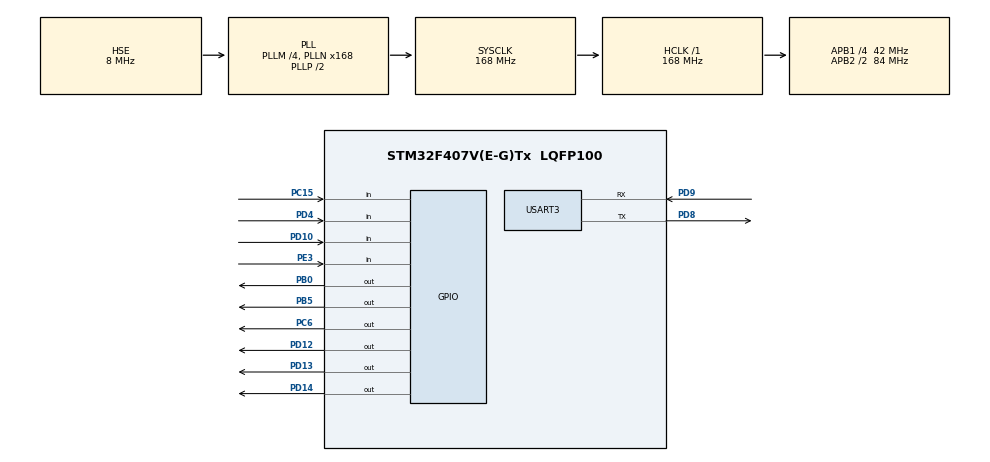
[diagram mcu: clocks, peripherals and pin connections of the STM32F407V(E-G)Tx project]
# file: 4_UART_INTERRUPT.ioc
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Mcu.Family=STM32F4
Mcu.Name=STM32F407V(E-G)Tx
Mcu.Package=LQFP100
NVIC.PriorityGroup=NVIC_PRIORITYGROUP_4
NVIC.USART3_IRQn=true\:0\:0\:false\:true\:true\:1\:true\:true\:true
PB0.Signal=GPIO_Output
PB5.Signal=GPIO_Output
PC15-OSC32_OUT.Signal=GPIO_Input
PC6.Signal=GPIO_Output
PD10.Signal=GPIO_Input
PD12.Signal=GPIO_Output
PD13.Signal=GPIO_Output
PD14.Signal=GPIO_Output
PD4.Signal=GPIO_Input
PD8.Mode=Asynchronous
PD8.Signal=USART3_TX
PD9.Mode=Asynchronous
PD9.Signal=USART3_RX
PE3.Signal=GPIO_Input
PH0-OSC_IN.Mode=HSE-External-Oscillator
PH0-OSC_IN.Signal=RCC_OSC_IN
PH1-OSC_OUT.Mode=HSE-External-Oscillator
PH1-OSC_OUT.Signal=RCC_OSC_OUT
ProjectManager.HeapSize=0x200
ProjectManager.StackSize=0x400
ProjectManager.TargetToolchain=STM32CubeIDE
RCC.48MHZClocksFreq_Value=84000000
RCC.AHBFreq_Value=168000000
RCC.APB1CLKDivider=RCC_HCLK_DIV4
RCC.APB1Freq_Value=42000000
RCC.APB1TimFreq_Value=84000000
RCC.APB2CLKDivider=RCC_HCLK_DIV2
RCC.APB2Freq_Value=84000000
RCC.APB2TimFreq_Value=168000000
RCC.CortexFreq_Value=168000000
RCC.HCLKFreq_Value=168000000
RCC.HSE_VALUE=8000000
RCC.HSI_VALUE=16000000
RCC.LSE_VALUE=32768
RCC.PLLM=4
RCC.PLLN=168
RCC.PLLSourceVirtual=RCC_PLLSOURCE_HSE
RCC.SYSCLKFreq_VALUE=168000000
RCC.SYSCLKSource=RCC_SYSCLKSOURCE_PLLCLK
RCC.VCOOutputFreq_Value=336000000
USART3.VirtualMode=VM_ASYNC
board=custom

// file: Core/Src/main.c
/* USER CODE BEGIN Header */
/**
 ******************************************************************************
 * @file           : main.c
 * @brief          : Main program body
 ******************************************************************************
 * @attention
 *
 * Copyright (c) 2024 STMicroelectronics.
 * All rights reserved.
 *
 * This software is licensed under terms that can be found in the LICENSE file
 * in the root directory of this software component.
 * If no LICENSE file comes with this software, it is provided AS-IS.
 *
 ******************************************************************************
 */
/* USER CODE END Header */
#include "main.h"

/* USER CODE BEGIN Includes */
#include <stdio.h>
#include <string.h>
/* USER CODE END Includes */

UART_HandleTypeDef huart3;

/* USER CODE BEGIN PV */
uint8_t rx3_data;
uint8_t cnt = 0;
uint8_t rx3_buf[100] = "uart test";
/* USER CODE END PV */

void SystemClock_Config(void);
static void MX_GPIO_Init(void);
static void MX_USART3_UART_Init(void);
static void MX_NVIC_Init(void);
/* USER CODE BEGIN PFP */
int _write(int file, char *p, int len) {
	HAL_UART_Transmit(&huart3, p, len, 10);
	return len;
}

void HAL_UART_RxCpltCallback(UART_HandleTypeDef *huart) {
	if (huart->Instance == USART3) {
		if (cnt < 100-1) {
			cnt++;
		} else {
			cnt = 0;
		}

		if (rx3_buf[cnt-1] == '\n') {
			rx3_buf[cnt-1] = '\0';
			cnt = 0;
		}

		HAL_UART_Receive_IT(&huart3, &rx3_buf[cnt], 1);
	}
}
/* USER CODE END PFP */

int main(void) {

	/* MCU Configuration--------------------------------------------------------*/

	/* Reset of all peripherals, Initializes the Flash interface and the Systick. */
	HAL_Init();

	/* Configure the system clock */
	SystemClock_Config();

	/* Initialize all configured peripherals */
	MX_GPIO_Init();
	MX_USART3_UART_Init();

	/* Initialize interrupts */
	MX_NVIC_Init();
	/* USER CODE BEGIN 2 */
	HAL_GPIO_WritePin(GPIOD, GPIO_PIN_12, GPIO_PIN_SET);
	HAL_GPIO_WritePin(GPIOD, GPIO_PIN_13, GPIO_PIN_SET);
	HAL_GPIO_WritePin(GPIOD, GPIO_PIN_14, GPIO_PIN_SET);
	HAL_GPIO_WritePin(GPIOC, GPIO_PIN_6, GPIO_PIN_SET);
	HAL_GPIO_WritePin(GPIOB, GPIO_PIN_0, GPIO_PIN_SET);
	HAL_GPIO_WritePin(GPIOB, GPIO_PIN_5, GPIO_PIN_SET);

	HAL_UART_Receive_IT(&huart3, &rx3_buf[cnt], 1);
	/* USER CODE END 2 */

	/* Infinite loop */
	/* USER CODE BEGIN WHILE */

	while (1) {
		HAL_UART_Transmit(&huart3, rx3_buf, strlen(rx3_buf), 100);

		HAL_Delay(1000);
		/* USER CODE END WHILE */

	}
}

void SystemClock_Config(void) {
	RCC_OscInitTypeDef RCC_OscInitStruct = { 0 };
	RCC_ClkInitTypeDef RCC_ClkInitStruct = { 0 };

	/** Configure the main internal regulator output voltage
	 */
	__HAL_RCC_PWR_CLK_ENABLE();
	__HAL_PWR_VOLTAGESCALING_CONFIG(PWR_REGULATOR_VOLTAGE_SCALE1);

	/** Initializes the RCC Oscillators according to the specified parameters
	 * in the RCC_OscInitTypeDef structure.
	 */
	RCC_OscInitStruct.OscillatorType = RCC_OSCILLATORTYPE_HSE;
	RCC_OscInitStruct.HSEState = RCC_HSE_ON;
	RCC_OscInitStruct.PLL.PLLState = RCC_PLL_ON;
	RCC_OscInitStruct.PLL.PLLSource = RCC_PLLSOURCE_HSE;
	RCC_OscInitStruct.PLL.PLLM = 4;
	RCC_OscInitStruct.PLL.PLLN = 168;
	RCC_OscInitStruct.PLL.PLLP = RCC_PLLP_DIV2;
	RCC_OscInitStruct.PLL.PLLQ = 4;
	if (HAL_RCC_OscConfig(&RCC_OscInitStruct) != HAL_OK) {
		Error_Handler();
	}

	/** Initializes the CPU, AHB and APB buses clocks
	 */
	RCC_ClkInitStruct.ClockType = RCC_CLOCKTYPE_HCLK | RCC_CLOCKTYPE_SYSCLK
			| RCC_CLOCKTYPE_PCLK1 | RCC_CLOCKTYPE_PCLK2;
	RCC_ClkInitStruct.SYSCLKSource = RCC_SYSCLKSOURCE_PLLCLK;
	RCC_ClkInitStruct.AHBCLKDivider = RCC_SYSCLK_DIV1;
	RCC_ClkInitStruct.APB1CLKDivider = RCC_HCLK_DIV4;
	RCC_ClkInitStruct.APB2CLKDivider = RCC_HCLK_DIV2;

	if (HAL_RCC_ClockConfig(&RCC_ClkInitStruct, FLASH_LATENCY_5) != HAL_OK) {
		Error_Handler();
	}
}

/**
 * @brief NVIC Configuration.
 * @retval None
 */
static void MX_NVIC_Init(void) {
	/* USART3_IRQn interrupt configuration */
	HAL_NVIC_SetPriority(USART3_IRQn, 0, 0);
	HAL_NVIC_EnableIRQ(USART3_IRQn);
}

static void MX_USART3_UART_Init(void) {

	huart3.Instance = USART3;
	huart3.Init.BaudRate = 115200;
	huart3.Init.WordLength = UART_WORDLENGTH_8B;
	huart3.Init.StopBits = UART_STOPBITS_1;
	huart3.Init.Parity = UART_PARITY_NONE;
	huart3.Init.Mode = UART_MODE_TX_RX;
	huart3.Init.HwFlowCtl = UART_HWCONTROL_NONE;
	huart3.Init.OverSampling = UART_OVERSAMPLING_16;
	if (HAL_UART_Init(&huart3) != HAL_OK) {
		Error_Handler();
	}

}

static void MX_GPIO_Init(void) {
	GPIO_InitTypeDef GPIO_InitStruct = { 0 };

	/* GPIO Ports Clock Enable */
	__HAL_RCC_GPIOE_CLK_ENABLE();
	__HAL_RCC_GPIOC_CLK_ENABLE();
	__HAL_RCC_GPIOH_CLK_ENABLE();
	__HAL_RCC_GPIOB_CLK_ENABLE();
	__HAL_RCC_GPIOD_CLK_ENABLE();

	/*Configure GPIO pin Output Level */
	HAL_GPIO_WritePin(GPIOB, GPIO_PIN_0 | GPIO_PIN_5, GPIO_PIN_RESET);

	/*Configure GPIO pin Output Level */
	HAL_GPIO_WritePin(GPIOD, GPIO_PIN_12 | GPIO_PIN_13 | GPIO_PIN_14,
			GPIO_PIN_RESET);

	/*Configure GPIO pin Output Level */
	HAL_GPIO_WritePin(GPIOC, GPIO_PIN_6, GPIO_PIN_RESET);

	/*Configure GPIO pin : PE3 */
	GPIO_InitStruct.Pin = GPIO_PIN_3;
	GPIO_InitStruct.Mode = GPIO_MODE_INPUT;
	GPIO_InitStruct.Pull = GPIO_NOPULL;
	HAL_GPIO_Init(GPIOE, &GPIO_InitStruct);

	/*Configure GPIO pin : PC15 */
	GPIO_InitStruct.Pin = GPIO_PIN_15;
	GPIO_InitStruct.Mode = GPIO_MODE_INPUT;
	GPIO_InitStruct.Pull = GPIO_NOPULL;
	HAL_GPIO_Init(GPIOC, &GPIO_InitStruct);

	/*Configure GPIO pins : PB0 PB5 */
	GPIO_InitStruct.Pin = GPIO_PIN_0 | GPIO_PIN_5;
	GPIO_InitStruct.Mode = GPIO_MODE_OUTPUT_PP;
	GPIO_InitStruct.Pull = GPIO_NOPULL;
	GPIO_InitStruct.Speed = GPIO_SPEED_FREQ_LOW;
	HAL_GPIO_Init(GPIOB, &GPIO_InitStruct);

	/*Configure GPIO pins : PD10 PD4 */
	GPIO_InitStruct.Pin = GPIO_PIN_10 | GPIO_PIN_4;
	GPIO_InitStruct.Mode = GPIO_MODE_INPUT;
	GPIO_InitStruct.Pull = GPIO_NOPULL;
	HAL_GPIO_Init(GPIOD, &GPIO_InitStruct);

	/*Configure GPIO pins : PD12 PD13 PD14 */
	GPIO_InitStruct.Pin = GPIO_PIN_12 | GPIO_PIN_13 | GPIO_PIN_14;
	GPIO_InitStruct.Mode = GPIO_MODE_OUTPUT_PP;
	GPIO_InitStruct.Pull = GPIO_NOPULL;
	GPIO_InitStruct.Speed = GPIO_SPEED_FREQ_LOW;
	HAL_GPIO_Init(GPIOD, &GPIO_InitStruct);

	/*Configure GPIO pin : PC6 */
	GPIO_InitStruct.Pin = GPIO_PIN_6;
	GPIO_InitStruct.Mode = GPIO_MODE_OUTPUT_PP;
	GPIO_InitStruct.Pull = GPIO_NOPULL;
	GPIO_InitStruct.Speed = GPIO_SPEED_FREQ_LOW;
	HAL_GPIO_Init(GPIOC, &GPIO_InitStruct);

}

void Error_Handler(void) {
	__disable_irq();
	while (1) {
	}
}
